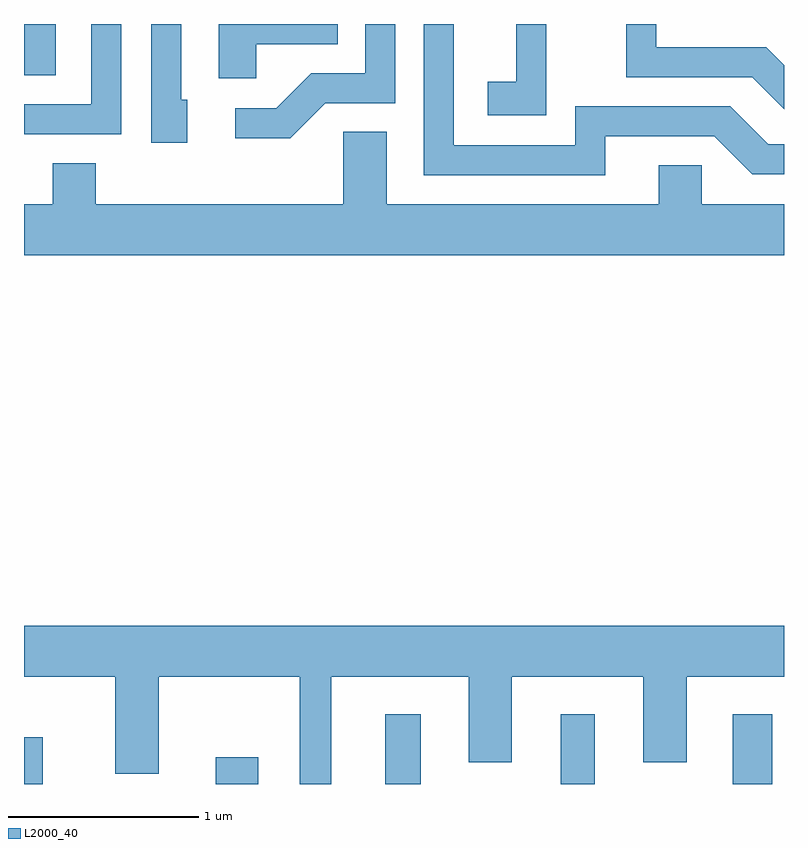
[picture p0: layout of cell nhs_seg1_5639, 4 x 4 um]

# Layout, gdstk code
import gdstk
lib = gdstk.Library(unit=1e-6, precision=1e-09)
def R(c, l, rs):  # rectangles x0, y0, x1, y1
    for r in rs: c.add(gdstk.rectangle(r[:2], r[2:], *l))
def P(c, l, *ps):  # polygons
    for p in ps: c.add(gdstk.Polygon(p, *l))
L2000_40 = (2000, 40)

nhs_seg1_5639 = lib.new_cell('nhs_seg1_5639')
R(nhs_seg1_5639, L2000_40, [(355.611,865.712,355.709,865.959), (356.621,865.712,356.844,865.854), (357.511,865.712,357.699,866.079), (358.436,865.712,358.614,866.079), (359.341,865.712,359.549,866.079), (355.611,869.441,355.779,869.712)])
P(nhs_seg1_5639, L2000_40, [(357.197,869.296),(357.564,869.296),(357.564,869.712),(357.406,869.712),(357.406,869.454),(357.124,869.454),(356.939,869.269),(356.723,869.269),(356.723,869.111),(357.012,869.111)],
  [(358.359,869.712),(358.201,869.712),(358.201,869.409),(358.051,869.409),(358.051,869.231),(358.359,869.231)],
  [(356.834,869.606),(357.263,869.606),(357.263,869.712),(356.636,869.712),(356.636,869.426),(356.834,869.426)],
  [(359.611,869.495),(359.517,869.589),(358.939,869.589),(358.939,869.712),(358.781,869.712),(358.781,869.431),(359.444,869.431),(359.611,869.264)],
  [(358.669,869.121),(359.244,869.121),(359.444,868.921),(359.611,868.921),(359.611,869.079),(359.527,869.079),(359.327,869.279),(358.511,869.279),(358.511,869.074),(357.874,869.074),(357.874,869.712),(357.716,869.712),(357.716,868.916),(358.669,868.916)],
  [(356.469,869.314),(356.439,869.314),(356.439,869.712),(356.281,869.712),(356.281,869.086),(356.469,869.086)],
  [(356.124,869.712),(355.966,869.712),(355.966,869.289),(355.611,869.289),(355.611,869.131),(356.124,869.131)],
  [(359.611,868.764),(359.179,868.764),(359.179,868.969),(358.951,868.969),(358.951,868.764),(357.519,868.764),(357.519,869.144),(357.291,869.144),(357.291,868.764),(355.989,868.764),(355.989,868.979),(355.761,868.979),(355.761,868.764),(355.611,868.764),(355.611,868.496),(359.611,868.496)],
  [(357.229,866.276),(357.951,866.276),(357.951,865.826),(358.179,865.826),(358.179,866.276),(358.871,866.276),(358.871,865.826),(359.099,865.826),(359.099,866.276),(359.611,866.276),(359.611,866.544),(355.611,866.544),(355.611,866.276),(356.091,866.276),(356.091,865.766),(356.319,865.766),(356.319,866.276),(357.061,866.276),(357.061,865.712),(357.229,865.712)])

lib.write_gds('nhs_seg1_5639.gds')
